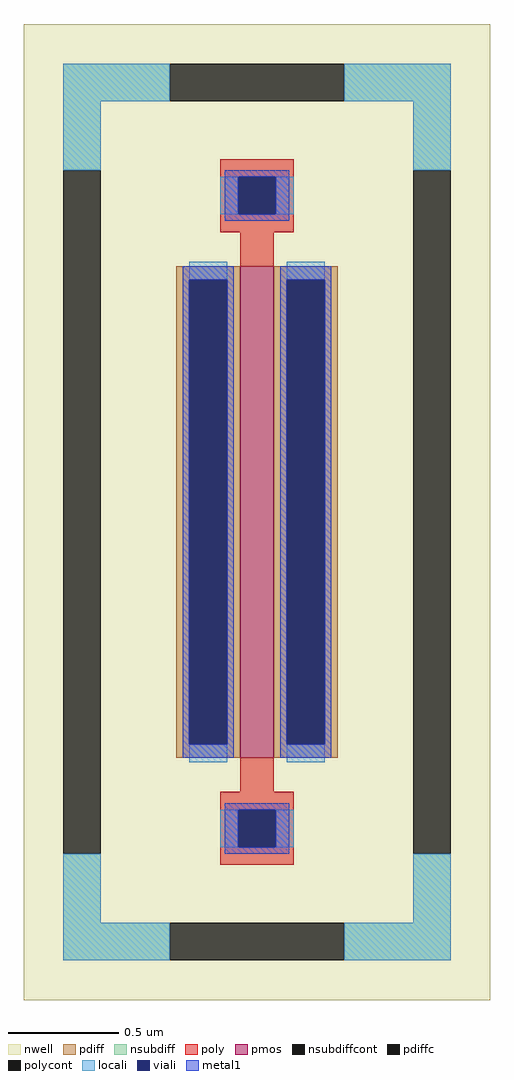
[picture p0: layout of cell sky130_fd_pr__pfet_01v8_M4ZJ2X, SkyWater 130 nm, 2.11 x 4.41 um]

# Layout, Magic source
magic
tech sky130A
magscale 1 2
<< nwell >>
rect -211 -441 211 441
<< pmos >>
rect -15 -222 15 222
<< pdiff >>
rect -73 210 -15 222
rect -73 -210 -61 210
rect -27 -210 -15 210
rect -73 -222 -15 -210
rect 15 210 73 222
rect 15 -210 27 210
rect 61 -210 73 210
rect 15 -222 73 -210
<< pdiffc >>
rect -61 -210 -27 210
rect 27 -210 61 210
<< nsubdiff >>
rect -175 371 -79 405
rect 79 371 175 405
rect -175 309 -141 371
rect 141 309 175 371
rect -175 -371 -141 -309
rect 141 -371 175 -309
rect -175 -405 -79 -371
rect 79 -405 175 -371
<< nsubdiffcont >>
rect -79 371 79 405
rect -175 -309 -141 309
rect 141 -309 175 309
rect -79 -405 79 -371
<< poly >>
rect -33 303 33 319
rect -33 269 -17 303
rect 17 269 33 303
rect -33 253 33 269
rect -15 222 15 253
rect -15 -253 15 -222
rect -33 -269 33 -253
rect -33 -303 -17 -269
rect 17 -303 33 -269
rect -33 -319 33 -303
<< polycont >>
rect -17 269 17 303
rect -17 -303 17 -269
<< locali >>
rect -175 371 -79 405
rect 79 371 175 405
rect -175 309 -141 371
rect 141 309 175 371
rect -33 269 -17 303
rect 17 269 33 303
rect -61 210 -27 226
rect -61 -226 -27 -210
rect 27 210 61 226
rect 27 -226 61 -210
rect -33 -303 -17 -269
rect 17 -303 33 -269
rect -175 -371 -141 -309
rect 141 -371 175 -309
rect -175 -405 -79 -371
rect 79 -405 175 -371
<< viali >>
rect -17 269 17 303
rect -61 -210 -27 210
rect 27 -210 61 210
rect -17 -303 17 -269
<< metal1 >>
rect -29 303 29 309
rect -29 269 -17 303
rect 17 269 29 303
rect -29 263 29 269
rect -67 210 -21 222
rect -67 -210 -61 210
rect -27 -210 -21 210
rect -67 -222 -21 -210
rect 21 210 67 222
rect 21 -210 27 210
rect 61 -210 67 210
rect 21 -222 67 -210
rect -29 -269 29 -263
rect -29 -303 -17 -269
rect 17 -303 29 -269
rect -29 -309 29 -303
<< properties >>
string gencell sky130_fd_pr__pfet_01v8
string FIXED_BBOX -158 -388 158 388
string parameters w 2.22 l 0.15 m 1 nf 1 diffcov 100 polycov 100 guard 1 glc 1 grc 1 gtc 1 gbc 1 tbcov 100 rlcov 100 topc 1 botc 1 poverlap 0 doverlap 1 lmin 0.15 wmin 0.42 compatible {sky130_fd_pr__pfet_01v8  sky130_fd_pr__pfet_01v8_lvt sky130_fd_pr__pfet_01v8_hvt  sky130_fd_pr__pfet_g5v0d10v5} full_metal 1 viasrc 100 viadrn 100 viagate 100 viagb 0 viagr 0 viagl 0 viagt 0
string library sky130
<< end >>
